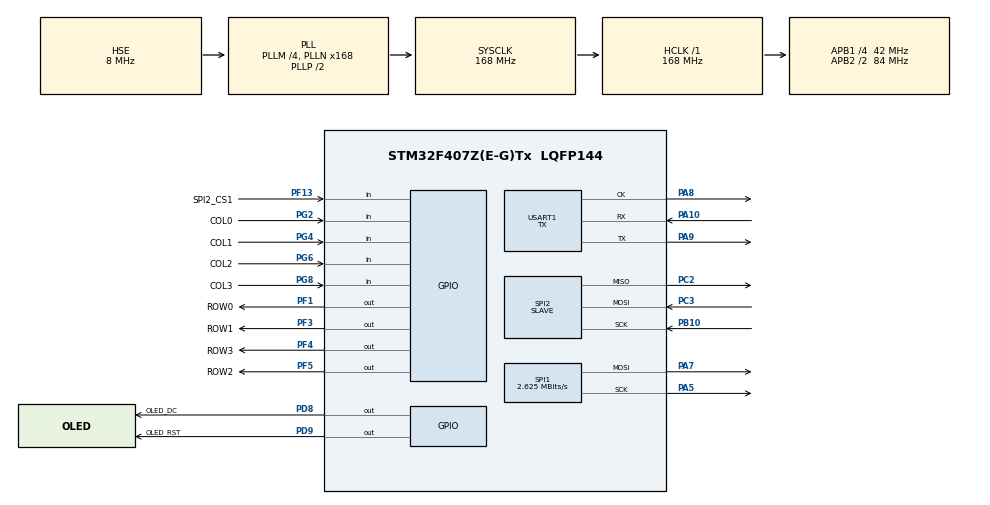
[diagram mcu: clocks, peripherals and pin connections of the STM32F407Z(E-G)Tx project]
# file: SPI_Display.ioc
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Dma.Request0=SPI1_TX
Dma.Request1=SPI2_RX
Dma.SPI1_TX.0.Direction=DMA_MEMORY_TO_PERIPH
Dma.SPI1_TX.0.FIFOMode=DMA_FIFOMODE_DISABLE
Dma.SPI1_TX.0.Instance=DMA2_Stream3
Dma.SPI1_TX.0.MemDataAlignment=DMA_MDATAALIGN_BYTE
Dma.SPI1_TX.0.MemInc=DMA_MINC_ENABLE
Dma.SPI1_TX.0.Mode=DMA_NORMAL
Dma.SPI1_TX.0.PeriphDataAlignment=DMA_PDATAALIGN_BYTE
Dma.SPI1_TX.0.PeriphInc=DMA_PINC_DISABLE
Dma.SPI1_TX.0.Priority=DMA_PRIORITY_LOW
Dma.SPI2_RX.1.Direction=DMA_PERIPH_TO_MEMORY
Dma.SPI2_RX.1.FIFOMode=DMA_FIFOMODE_DISABLE
Dma.SPI2_RX.1.Instance=DMA1_Stream3
Dma.SPI2_RX.1.MemDataAlignment=DMA_MDATAALIGN_BYTE
Dma.SPI2_RX.1.MemInc=DMA_MINC_ENABLE
Dma.SPI2_RX.1.Mode=DMA_NORMAL
Dma.SPI2_RX.1.PeriphDataAlignment=DMA_PDATAALIGN_BYTE
Dma.SPI2_RX.1.PeriphInc=DMA_PINC_DISABLE
Dma.SPI2_RX.1.Priority=DMA_PRIORITY_LOW
Mcu.Family=STM32F4
Mcu.Name=STM32F407Z(E-G)Tx
Mcu.Package=LQFP144
NVIC.DMA1_Stream3_IRQn=true\:0\:0\:false\:false\:true\:false\:true
NVIC.DMA2_Stream3_IRQn=true\:0\:0\:true\:false\:true\:false\:true
NVIC.PriorityGroup=NVIC_PRIORITYGROUP_4
NVIC.SPI1_IRQn=true\:0\:0\:true\:false\:true\:true\:true
NVIC.SPI2_IRQn=true\:0\:0\:false\:false\:true\:true\:true
NVIC.TIM6_DAC_IRQn=true\:0\:0\:false\:false\:true\:true\:true
PA10.Mode=Synchronous
PA10.Signal=USART1_RX
PA13.Mode=Serial_Wire
PA13.Signal=SYS_JTMS-SWDIO
PA14.Mode=Serial_Wire
PA14.Signal=SYS_JTCK-SWCLK
PA5.Mode=TX_Only_Simplex_Unidirect_Master
PA5.Signal=SPI1_SCK
PA7.Mode=TX_Only_Simplex_Unidirect_Master
PA7.Signal=SPI1_MOSI
PA8.Mode=Synchronous
PA8.Signal=USART1_CK
PA9.Mode=Synchronous
PA9.Signal=USART1_TX
PB10.Mode=Full_Duplex_Slave
PB10.Signal=SPI2_SCK
PB3.Signal=SYS_JTDO-SWO
PC14-OSC32_IN.Mode=LSE-External-Oscillator
PC14-OSC32_IN.Signal=RCC_OSC32_IN
PC15-OSC32_OUT.Mode=LSE-External-Oscillator
PC15-OSC32_OUT.Signal=RCC_OSC32_OUT
PC2.Mode=Full_Duplex_Slave
PC2.Signal=SPI2_MISO
PC3.Mode=Full_Duplex_Slave
PC3.Signal=SPI2_MOSI
PD8.GPIO_Label=OLED_DC
PD8.GPIO_Speed=GPIO_SPEED_FREQ_VERY_HIGH
PD8.Signal=GPIO_Output
PD9.GPIO_Label=OLED_RST
PD9.Signal=GPIO_Output
PF1.GPIO_Label=ROW0
PF1.Signal=GPIO_Output
PF13.GPIO_Label=SPI2_CS1
PF13.GPIO_PuPd=GPIO_PULLUP
PF13.Signal=GPIO_Input
PF3.GPIO_Label=ROW1
PF3.Signal=GPIO_Output
PF4.GPIO_Label=ROW3
PF4.Signal=GPIO_Output
PF5.GPIO_Label=ROW2
PF5.Signal=GPIO_Output
PG2.GPIO_Label=COL0
PG2.GPIO_PuPd=GPIO_PULLDOWN
PG2.Signal=GPIO_Input
PG4.GPIO_Label=COL1
PG4.GPIO_PuPd=GPIO_PULLDOWN
PG4.Signal=GPIO_Input
PG6.GPIO_Label=COL2
PG6.GPIO_PuPd=GPIO_PULLDOWN
PG6.Signal=GPIO_Input
PG8.GPIO_Label=COL3
PG8.GPIO_PuPd=GPIO_PULLDOWN
PG8.Signal=GPIO_Input
PH0-OSC_IN.Mode=HSE-External-Oscillator
PH0-OSC_IN.Signal=RCC_OSC_IN
PH1-OSC_OUT.Mode=HSE-External-Oscillator
PH1-OSC_OUT.Signal=RCC_OSC_OUT
ProjectManager.HeapSize=0x200
ProjectManager.StackSize=0x400
ProjectManager.TargetToolchain=Makefile
RCC.48MHZClocksFreq_Value=84000000
RCC.AHBFreq_Value=168000000
RCC.APB1CLKDivider=RCC_HCLK_DIV4
RCC.APB1Freq_Value=42000000
RCC.APB1TimFreq_Value=84000000
RCC.APB2CLKDivider=RCC_HCLK_DIV2
RCC.APB2Freq_Value=84000000
RCC.APB2TimFreq_Value=168000000
RCC.CortexFreq_Value=168000000
RCC.HCLKFreq_Value=168000000
RCC.HSE_VALUE=8000000
RCC.HSI_VALUE=16000000
RCC.PLLM=4
RCC.PLLN=168
RCC.PLLSourceVirtual=RCC_PLLSOURCE_HSE
RCC.SYSCLKFreq_VALUE=168000000
RCC.SYSCLKSource=RCC_SYSCLKSOURCE_PLLCLK
RCC.VCOOutputFreq_Value=336000000
SPI1.BaudRatePrescaler=SPI_BAUDRATEPRESCALER_32
SPI1.CLKPhase=SPI_PHASE_1EDGE
SPI1.CalculateBaudRate=2.625 MBits/s
SPI1.Direction=SPI_DIRECTION_2LINES
SPI1.Mode=SPI_MODE_MASTER
SPI1.VirtualType=VM_MASTER
SPI2.Direction=SPI_DIRECTION_2LINES
SPI2.Mode=SPI_MODE_SLAVE
SPI2.VirtualType=VM_SLAVE
TIM6.AutoReloadPreload=TIM_AUTORELOAD_PRELOAD_ENABLE
TIM6.Period=1000-1
TIM6.Prescaler=84-1
USART1.Mode=MODE_TX
USART1.VirtualMode=VM_SYNC
VP_TIM6_VS_ClockSourceINT.Mode=Enable_Timer
board=custom

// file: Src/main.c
/* USER CODE BEGIN Header */
/**
  ******************************************************************************
  * @file           : main.c
  * @brief          : Main program body
  ******************************************************************************
  * @attention
  *
  * <h2><center>&copy; Copyright (c) 2019 STMicroelectronics.
  * All rights reserved.</center></h2>
  *
  * This software component is licensed by ST under BSD 3-Clause license,
  * the "License"; You may not use this file except in compliance with the
  * License. You may obtain a copy of the License at:
  *                        opensource.org/licenses/BSD-3-Clause
  *
  ******************************************************************************
  */
/* USER CODE END Header */

#include "main.h"
#include "dma.h"
#include "spi.h"
#include "tim.h"
#include "usart.h"
#include "gpio.h"

void SystemClock_Config(void);

/* USER CODE BEGIN 0 */

// 定义前台任务队列
taskList_Typedef foregroundTaskList;
taskList_Typedef backgroundTaskList;

FSMKey_Typedef key[4][4];

static void (*SingleHit_callback[4][4])(void);
static void (*DoubleHit_callback[4][4])(void);

/* USER CODE END 0 */

int main(void)
{
  /* USER CODE BEGIN 1 */

  FSMKey_Typedef key[4][4];

  GPIO_struct_Typedef row[4];
  GPIO_struct_Typedef col[4];

  /* USER CODE END 1 */

  /* MCU Configuration--------------------------------------------------------*/

  /* Reset of all peripherals, Initializes the Flash interface and the Systick. */
  HAL_Init();

  /* Configure the system clock */
  SystemClock_Config();

  /* Initialize all configured peripherals */
  MX_GPIO_Init();
  MX_DMA_Init();
  MX_SPI1_Init();
  MX_TIM6_Init();
  MX_USART1_Init();
  MX_SPI2_Init();
  /* USER CODE BEGIN 2 */

  taskListInit(&htim6, &foregroundTaskList, foregroundTaskManager);
  taskListInit(&htim6, &backgroundTaskList, backgroundTaskManager);

  #ifdef OLED_USE_DMA
  SetSPIHandle(&hspi1);
  Set_DC_GPIO(OLED_DC_GPIO_Port, OLED_DC_Pin);
  Set_RS_GPIO(OLED_RST_GPIO_Port, OLED_RST_Pin);
  SH1106_Init();
  taskElement_Typedef flushScreen_Task;
  backgroundTaskInit(&flushScreen_Task, &backgroundTaskList, 10, flushScreen);

  firstTest(SingleHit_callback, DoubleHit_callback, row, col);
  matrixInit(&matrix_key, key, SingleHit_callback, DoubleHit_callback, row, col);

  taskElement_Typedef scanMatrix_Task;
  backgroundTaskInit(&flushScreen_Task, &backgroundTaskList, 20, flushScreen);
  foregroundTaskInit(&scanMatrix_Task, &foregroundTaskList, 10, scanMatrix);

  HAL_TIM_Base_Start_IT(&htim6);
  drawString("Calc Test", 0);
  // SPI mem sync Init;

  #endif

  /* USER CODE END 2 */

  /* Infinite loop */
  while (1)
  {

    /* USER CODE BEGIN 3 */
    backgroundTaskManager(&backgroundTaskList);
  }
  /* USER CODE END 3 */
}

void SystemClock_Config(void)
{
  RCC_OscInitTypeDef RCC_OscInitStruct = {0};
  RCC_ClkInitTypeDef RCC_ClkInitStruct = {0};

  /** Configure the main internal regulator output voltage
  */
  __HAL_RCC_PWR_CLK_ENABLE();
  __HAL_PWR_VOLTAGESCALING_CONFIG(PWR_REGULATOR_VOLTAGE_SCALE1);
  /** Initializes the CPU, AHB and APB busses clocks
  */
  RCC_OscInitStruct.OscillatorType = RCC_OSCILLATORTYPE_HSE;
  RCC_OscInitStruct.HSEState = RCC_HSE_ON;
  RCC_OscInitStruct.PLL.PLLState = RCC_PLL_ON;
  RCC_OscInitStruct.PLL.PLLSource = RCC_PLLSOURCE_HSE;
  RCC_OscInitStruct.PLL.PLLM = 4;
  RCC_OscInitStruct.PLL.PLLN = 168;
  RCC_OscInitStruct.PLL.PLLP = RCC_PLLP_DIV2;
  RCC_OscInitStruct.PLL.PLLQ = 4;
  if (HAL_RCC_OscConfig(&RCC_OscInitStruct) != HAL_OK)
  {
    Error_Handler();
  }
  /** Initializes the CPU, AHB and APB busses clocks
  */
  RCC_ClkInitStruct.ClockType = RCC_CLOCKTYPE_HCLK|RCC_CLOCKTYPE_SYSCLK
                              |RCC_CLOCKTYPE_PCLK1|RCC_CLOCKTYPE_PCLK2;
  RCC_ClkInitStruct.SYSCLKSource = RCC_SYSCLKSOURCE_PLLCLK;
  RCC_ClkInitStruct.AHBCLKDivider = RCC_SYSCLK_DIV1;
  RCC_ClkInitStruct.APB1CLKDivider = RCC_HCLK_DIV4;
  RCC_ClkInitStruct.APB2CLKDivider = RCC_HCLK_DIV2;

  if (HAL_RCC_ClockConfig(&RCC_ClkInitStruct, FLASH_LATENCY_5) != HAL_OK)
  {
    Error_Handler();
  }
}

/* USER CODE BEGIN 4 */

// callback functions

void HAL_TIM_PeriodElapsedCallback(TIM_HandleTypeDef *htim)
{
  if (htim->Instance == TIM6) {
    foregroundTaskManager(&foregroundTaskList);
  }
}

uint8_t buffer;

/* USER CODE END 4 */

void Error_Handler(void)
{
}

/************************ (C) COPYRIGHT STMicroelectronics *****END OF FILE****/
